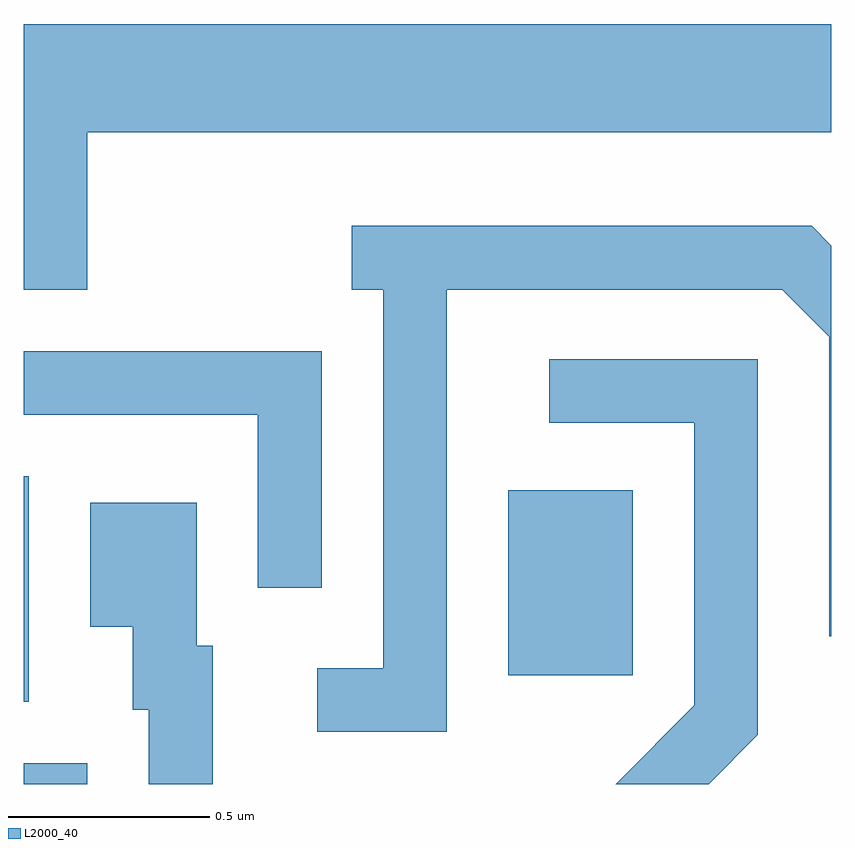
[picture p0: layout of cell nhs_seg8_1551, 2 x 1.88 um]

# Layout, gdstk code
import gdstk
lib = gdstk.Library(unit=1e-6, precision=1e-09)
def R(c, l, rs):  # rectangles x0, y0, x1, y1
    for r in rs: c.add(gdstk.rectangle(r[:2], r[2:], *l))
def P(c, l, *ps):  # polygons
    for p in ps: c.add(gdstk.Polygon(p, *l))
L2000_40 = (2000, 40)

nhs_seg8_1551 = lib.new_cell('nhs_seg8_1551')
R(nhs_seg8_1551, L2000_40, [(196.611,1850.342,196.769,1850.394), (196.611,1850.546,196.624,1851.104), (197.811,1850.611,198.119,1851.069)])
P(nhs_seg8_1551, L2000_40, [(196.769,1851.956),(198.611,1851.956),(198.611,1852.224),(196.611,1852.224),(196.611,1851.566),(196.769,1851.566)],
  [(197.659,1851.566),(198.489,1851.566),(198.606,1851.449),(198.606,1850.708),(198.611,1850.708),(198.611,1851.675),(198.562,1851.724),(197.423,1851.724),(197.423,1851.566),(197.501,1851.566),(197.501,1850.629),(197.338,1850.629),(197.338,1850.471),(197.659,1850.471)],
  [(197.349,1851.414),(196.611,1851.414),(196.611,1851.256),(197.191,1851.256),(197.191,1850.828),(197.349,1850.828)],
  [(198.429,1850.464),(198.429,1851.394),(197.913,1851.394),(197.913,1851.236),(198.271,1851.236),(198.271,1850.537),(198.077,1850.342),(198.307,1850.342)],
  [(197.079,1850.684),(197.039,1850.684),(197.039,1851.039),(196.776,1851.039),(196.776,1850.731),(196.881,1850.731),(196.881,1850.526),(196.921,1850.526),(196.921,1850.342),(197.079,1850.342)])

lib.write_gds('nhs_seg8_1551.gds')
